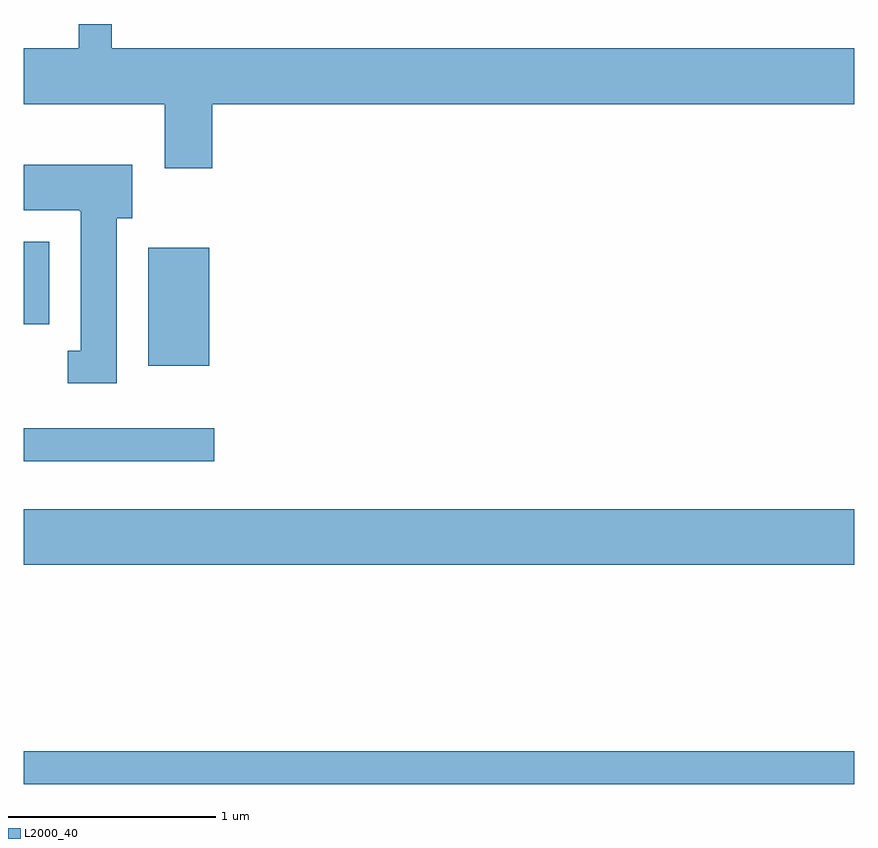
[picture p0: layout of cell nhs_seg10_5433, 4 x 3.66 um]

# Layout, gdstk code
import gdstk
lib = gdstk.Library(unit=1e-6, precision=1e-09)
def R(c, l, rs):  # rectangles x0, y0, x1, y1
    for r in rs: c.add(gdstk.rectangle(r[:2], r[2:], *l))
def P(c, l, *ps):  # polygons
    for p in ps: c.add(gdstk.Polygon(p, *l))
L2000_40 = (2000, 40)

nhs_seg10_5433 = lib.new_cell('nhs_seg10_5433')
R(nhs_seg10_5433, L2000_40, [(345.611,2112.861,349.611,2113.019), (345.611,2113.916,349.611,2114.184), (345.611,2114.416,346.528,2114.574), (346.211,2114.876,346.504,2115.444), (345.611,2115.076,345.734,2115.474)])
P(nhs_seg10_5433, L2000_40, [(346.519,2116.136),(349.611,2116.136),(349.611,2116.404),(346.034,2116.404),(346.034,2116.522),(345.876,2116.522),(345.876,2116.404),(345.611,2116.404),(345.611,2116.136),(346.291,2116.136),(346.291,2115.826),(346.519,2115.826)],
  [(346.059,2115.586),(346.134,2115.586),(346.134,2115.844),(345.611,2115.844),(345.611,2115.626),(345.88,2115.626),(345.88,2115.62),(345.886,2115.62),(345.886,2114.949),(345.823,2114.949),(345.823,2114.791),(346.059,2114.791)])

lib.write_gds('nhs_seg10_5433.gds')
